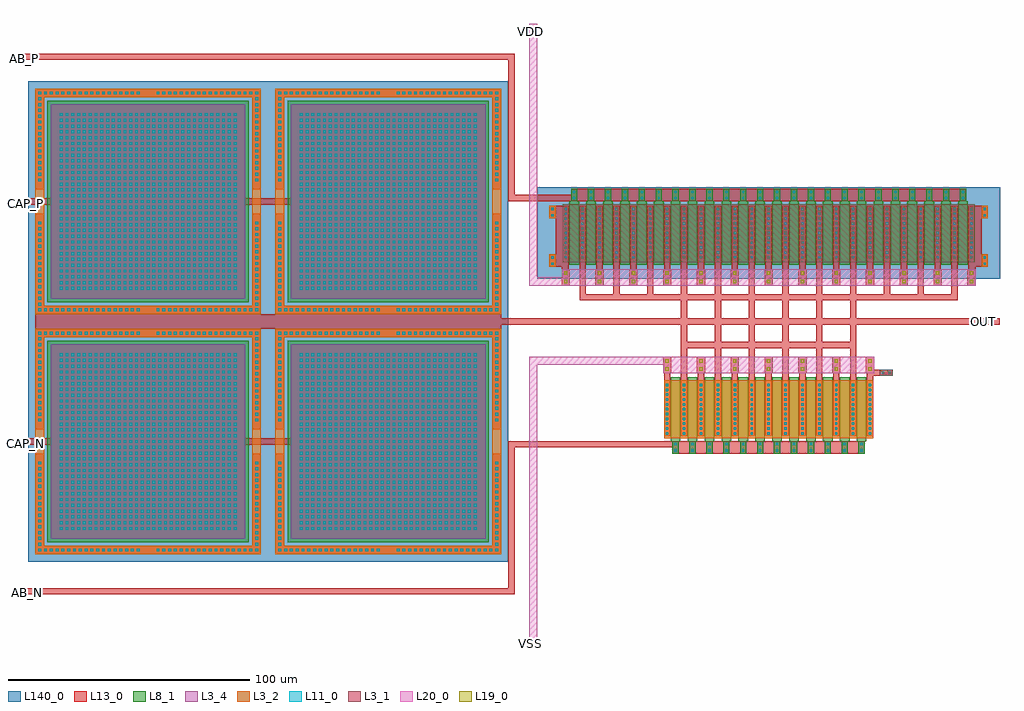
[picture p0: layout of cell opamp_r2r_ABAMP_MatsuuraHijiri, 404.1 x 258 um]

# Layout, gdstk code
from math import pi, radians
import gdstk
lib = gdstk.Library(unit=1e-6, precision=1e-07)
def R(c, l, rs):  # rectangles x0, y0, x1, y1
    for r in rs: c.add(gdstk.rectangle(r[:2], r[2:], *l))
def A(c, l, x, y, w, h, nx, ny, dx, dy):  # array of equal rectangles
    R(c, l, [(x+i*dx, y+j*dy, x+i*dx+w, y+j*dy+h) for i in range(nx) for j in range(ny)])
def P(c, l, *ps):  # polygons
    for p in ps: c.add(gdstk.Polygon(p, *l))
L3_1 = (3, 1)
L3_2 = (3, 2)
L3_4 = (3, 4)
L8_1 = (8, 1)
L11_0 = (11, 0)
L13_0 = (13, 0)
L19_0 = (19, 0)
L20_0 = (20, 0)
L140_0 = (140, 0)

moscap = lib.new_cell('moscap')
P(moscap, L3_2, [(-46.7,-46.7),(-46.7,43.1),(-43.1,43.1),(-43.1,-43.1),(43.1,-43.1),(43.1,43.1),(-46.7,43.1),(-46.7,46.7),(46.7,46.7),(46.7,-46.7)])
R(moscap, L3_4, [(-40.3,-40.3,40.3,40.3)])
R(moscap, L8_1, [(-41.7,-41.7,41.7,41.7)])
A(moscap, L11_0, -45.5, -45.5, 1.2, 1.2, 1, 18, 0, 2.4)
A(moscap, L11_0, -45.5, -45.5, 1.2, 1.2, 16, 2, 2.4, 89.8)
A(moscap, L11_0, 8.3, -45.5, 1.2, 1.2, 16, 2, 2.4, 89.8)
A(moscap, L11_0, 44.3, -45.5, 1.2, 1.2, 1, 18, 0, 2.4)
A(moscap, L11_0, -36.6, -36.6, 1.2, 1.2, 31, 31, 2.4, 2.4)
A(moscap, L11_0, -45.5, 3.5, 1.2, 1.2, 1, 18, 0, 2.4)
A(moscap, L11_0, 44.3, 3.5, 1.2, 1.2, 1, 18, 0, 2.4)
R(moscap, L13_0, [(-40.3,-40.3,40.3,40.3)])
P(moscap, L13_0, [(-46.7,-46.7),(-46.7,46.7),(-5,46.7),(-5,43.1),(-43.1,43.1),(-43.1,-43.1),(-5,-43.1),(-5,-46.7)],
  [(5,-46.7),(5,-43.1),(43.1,-43.1),(43.1,43.1),(5,43.1),(5,46.7),(46.7,46.7),(46.7,-46.7)])
R(moscap, L140_0, [(-49.7,-49.7,49.7,49.7)])

fet_p = lib.new_cell('fet_p')
R(fet_p, L3_1, [(-85.3,-12,85.3,12)])
A(fet_p, L11_0, -84.5, -10.5, 1, 1, 25, 11, 7, 2)
A(fet_p, L13_0, -85.3, -11.3, 2.6, 22.6, 25, 1, 7, 0)
fet_p.add(gdstk.FlexPath([(3.5,-13.2),(3.5,13.2)], 4, ends="flush", simple_path=True, layer=8, datatype=1))  # L8_1
fet_p.add(gdstk.FlexPath([(-3.5,-13.2),(-3.5,13.2)], 4, ends="flush", simple_path=True, layer=8, datatype=1))  # L8_1
fet_p.add(gdstk.FlexPath([(10.5,-13.2),(10.5,13.2)], 4, ends="flush", simple_path=True, layer=8, datatype=1))  # L8_1
fet_p.add(gdstk.FlexPath([(-10.5,-13.2),(-10.5,13.2)], 4, ends="flush", simple_path=True, layer=8, datatype=1))  # L8_1
fet_p.add(gdstk.FlexPath([(17.5,-13.2),(17.5,13.2)], 4, ends="flush", simple_path=True, layer=8, datatype=1))  # L8_1
fet_p.add(gdstk.FlexPath([(-17.5,-13.2),(-17.5,13.2)], 4, ends="flush", simple_path=True, layer=8, datatype=1))  # L8_1
fet_p.add(gdstk.FlexPath([(24.5,-13.2),(24.5,13.2)], 4, ends="flush", simple_path=True, layer=8, datatype=1))  # L8_1
fet_p.add(gdstk.FlexPath([(-24.5,-13.2),(-24.5,13.2)], 4, ends="flush", simple_path=True, layer=8, datatype=1))  # L8_1
fet_p.add(gdstk.FlexPath([(31.5,-13.2),(31.5,13.2)], 4, ends="flush", simple_path=True, layer=8, datatype=1))  # L8_1
fet_p.add(gdstk.FlexPath([(-31.5,-13.2),(-31.5,13.2)], 4, ends="flush", simple_path=True, layer=8, datatype=1))  # L8_1
fet_p.add(gdstk.FlexPath([(38.5,-13.2),(38.5,13.2)], 4, ends="flush", simple_path=True, layer=8, datatype=1))  # L8_1
fet_p.add(gdstk.FlexPath([(-38.5,-13.2),(-38.5,13.2)], 4, ends="flush", simple_path=True, layer=8, datatype=1))  # L8_1
fet_p.add(gdstk.FlexPath([(45.5,-13.2),(45.5,13.2)], 4, ends="flush", simple_path=True, layer=8, datatype=1))  # L8_1
fet_p.add(gdstk.FlexPath([(-45.5,-13.2),(-45.5,13.2)], 4, ends="flush", simple_path=True, layer=8, datatype=1))  # L8_1
fet_p.add(gdstk.FlexPath([(52.5,-13.2),(52.5,13.2)], 4, ends="flush", simple_path=True, layer=8, datatype=1))  # L8_1
fet_p.add(gdstk.FlexPath([(-52.5,-13.2),(-52.5,13.2)], 4, ends="flush", simple_path=True, layer=8, datatype=1))  # L8_1
fet_p.add(gdstk.FlexPath([(59.5,-13.2),(59.5,13.2)], 4, ends="flush", simple_path=True, layer=8, datatype=1))  # L8_1
fet_p.add(gdstk.FlexPath([(-59.5,-13.2),(-59.5,13.2)], 4, ends="flush", simple_path=True, layer=8, datatype=1))  # L8_1
fet_p.add(gdstk.FlexPath([(66.5,-13.2),(66.5,13.2)], 4, ends="flush", simple_path=True, layer=8, datatype=1))  # L8_1
fet_p.add(gdstk.FlexPath([(-66.5,-13.2),(-66.5,13.2)], 4, ends="flush", simple_path=True, layer=8, datatype=1))  # L8_1
fet_p.add(gdstk.FlexPath([(73.5,-13.2),(73.5,13.2)], 4, ends="flush", simple_path=True, layer=8, datatype=1))  # L8_1
fet_p.add(gdstk.FlexPath([(-73.5,-13.2),(-73.5,13.2)], 4, ends="flush", simple_path=True, layer=8, datatype=1))  # L8_1
fet_p.add(gdstk.FlexPath([(80.5,-13.2),(80.5,13.2)], 4, ends="flush", simple_path=True, layer=8, datatype=1))  # L8_1
fet_p.add(gdstk.FlexPath([(-80.5,-13.2),(-80.5,13.2)], 4, ends="flush", simple_path=True, layer=8, datatype=1))  # L8_1

cont_g = lib.new_cell('cont_g')
R(cont_g, L8_1, [(-1.3,-1.3,1.3,1.3)])
R(cont_g, L11_0, [(-0.5,-0.5,0.5,0.5)])
R(cont_g, L13_0, [(-1.3,-1.3,1.3,1.3)])

via_1 = lib.new_cell('via_1')
R(via_1, L13_0, [(-1.7,-1.7,1.7,1.7)])
R(via_1, L19_0, [(-0.7,-0.7,0.7,0.7)])
R(via_1, L20_0, [(-1.7,-1.7,1.7,1.7)])

cont_n = lib.new_cell('cont_n')
R(cont_n, L3_2, [(-1.3,-1.3,1.3,1.3)])
R(cont_n, L11_0, [(-0.5,-0.5,0.5,0.5)])
R(cont_n, L13_0, [(-1.3,-1.3,1.3,1.3)])

cont_p = lib.new_cell('cont_p')
R(cont_p, L3_1, [(-1.3,-1.3,1.3,1.3)])
R(cont_p, L11_0, [(-0.5,-0.5,0.5,0.5)])
R(cont_p, L13_0, [(-1.3,-1.3,1.3,1.3)])

fet_n = lib.new_cell('fet_n')
R(fet_n, L3_2, [(-43.3,-12,43.3,12)])
A(fet_n, L11_0, -42.5, -10.5, 1, 1, 13, 11, 7, 2)
A(fet_n, L13_0, -43.3, -11.3, 2.6, 22.6, 13, 1, 7, 0)
fet_n.add(gdstk.FlexPath([(3.5,-13.2),(3.5,13.2)], 4, ends="flush", simple_path=True, layer=8, datatype=1))  # L8_1
fet_n.add(gdstk.FlexPath([(-3.5,-13.2),(-3.5,13.2)], 4, ends="flush", simple_path=True, layer=8, datatype=1))  # L8_1
fet_n.add(gdstk.FlexPath([(10.5,-13.2),(10.5,13.2)], 4, ends="flush", simple_path=True, layer=8, datatype=1))  # L8_1
fet_n.add(gdstk.FlexPath([(-10.5,-13.2),(-10.5,13.2)], 4, ends="flush", simple_path=True, layer=8, datatype=1))  # L8_1
fet_n.add(gdstk.FlexPath([(17.5,-13.2),(17.5,13.2)], 4, ends="flush", simple_path=True, layer=8, datatype=1))  # L8_1
fet_n.add(gdstk.FlexPath([(-17.5,-13.2),(-17.5,13.2)], 4, ends="flush", simple_path=True, layer=8, datatype=1))  # L8_1
fet_n.add(gdstk.FlexPath([(24.5,-13.2),(24.5,13.2)], 4, ends="flush", simple_path=True, layer=8, datatype=1))  # L8_1
fet_n.add(gdstk.FlexPath([(-24.5,-13.2),(-24.5,13.2)], 4, ends="flush", simple_path=True, layer=8, datatype=1))  # L8_1
fet_n.add(gdstk.FlexPath([(31.5,-13.2),(31.5,13.2)], 4, ends="flush", simple_path=True, layer=8, datatype=1))  # L8_1
fet_n.add(gdstk.FlexPath([(-31.5,-13.2),(-31.5,13.2)], 4, ends="flush", simple_path=True, layer=8, datatype=1))  # L8_1
fet_n.add(gdstk.FlexPath([(38.5,-13.2),(38.5,13.2)], 4, ends="flush", simple_path=True, layer=8, datatype=1))  # L8_1
fet_n.add(gdstk.FlexPath([(-38.5,-13.2),(-38.5,13.2)], 4, ends="flush", simple_path=True, layer=8, datatype=1))  # L8_1

opamp_r2r_abamp_matsuura = lib.new_cell('opamp_r2r_ABAMP_MatsuuraHijiri')
R(opamp_r2r_abamp_matsuura, L13_0, [(8.1,-69.7,87.7,-67.1), (-255.7,-18,-62.9,-12), (-37.8,6.7,-37.4,7.6), (133.2,6.7,133.6,7.6), (-40.3,10.2,-37.4,30.3), (133.2,10.2,136.1,30.3), (-33.9,37.4,129.7,40)])
R(opamp_r2r_abamp_matsuura, L20_0, [(4.2,-36.4,91.6,-33), (-37.8,3.3,133.6,6.7)])
R(opamp_r2r_abamp_matsuura, L140_0, [(-47.9,2.6,143.7,40.6)])
opamp_r2r_abamp_matsuura.add(gdstk.FlexPath([(-29.1,10.3),(-29.1,-3.7)], 2.6, ends="flush", simple_path=True, layer=13, datatype=0))  # L13_0
opamp_r2r_abamp_matsuura.add(gdstk.FlexPath([(-15.1,10.3),(-15.1,-3.7)], 2.6, ends="flush", simple_path=True, layer=13, datatype=0))  # L13_0
opamp_r2r_abamp_matsuura.add(gdstk.FlexPath([(-1.1,10.3),(-1.1,-3.7)], 2.6, ends="flush", simple_path=True, layer=13, datatype=0))  # L13_0
opamp_r2r_abamp_matsuura.add(gdstk.FlexPath([(12.9,10.3),(12.9,-3.7)], 2.6, ends="flush", simple_path=True, layer=13, datatype=0))  # L13_0
opamp_r2r_abamp_matsuura.add(gdstk.FlexPath([(26.9,10.3),(26.9,-3.7)], 2.6, ends="flush", simple_path=True, layer=13, datatype=0))  # L13_0
opamp_r2r_abamp_matsuura.add(gdstk.FlexPath([(40.9,10.3),(40.9,-3.7)], 2.6, ends="flush", simple_path=True, layer=13, datatype=0))  # L13_0
opamp_r2r_abamp_matsuura.add(gdstk.FlexPath([(54.9,10.3),(54.9,-3.7)], 2.6, ends="flush", simple_path=True, layer=13, datatype=0))  # L13_0
opamp_r2r_abamp_matsuura.add(gdstk.FlexPath([(68.9,10.3),(68.9,-3.7)], 2.6, ends="flush", simple_path=True, layer=13, datatype=0))  # L13_0
opamp_r2r_abamp_matsuura.add(gdstk.FlexPath([(82.9,10.3),(82.9,-3.7)], 2.6, ends="flush", simple_path=True, layer=13, datatype=0))  # L13_0
opamp_r2r_abamp_matsuura.add(gdstk.FlexPath([(96.9,10.3),(96.9,-3.7)], 2.6, ends="flush", simple_path=True, layer=13, datatype=0))  # L13_0
opamp_r2r_abamp_matsuura.add(gdstk.FlexPath([(110.9,10.3),(110.9,-3.7)], 2.6, ends="flush", simple_path=True, layer=13, datatype=0))  # L13_0
opamp_r2r_abamp_matsuura.add(gdstk.FlexPath([(124.9,10.3),(124.9,-3.7)], 2.6, ends="flush", simple_path=True, layer=13, datatype=0))  # L13_0
opamp_r2r_abamp_matsuura.add(gdstk.FlexPath([(5.9,-33),(5.9,-40)], 2.6, ends="flush", simple_path=True, layer=13, datatype=0))  # L13_0
opamp_r2r_abamp_matsuura.add(gdstk.FlexPath([(19.9,-33),(19.9,-40)], 2.6, ends="flush", simple_path=True, layer=13, datatype=0))  # L13_0
opamp_r2r_abamp_matsuura.add(gdstk.FlexPath([(33.9,-33),(33.9,-40)], 2.6, ends="flush", simple_path=True, layer=13, datatype=0))  # L13_0
opamp_r2r_abamp_matsuura.add(gdstk.FlexPath([(47.9,-33),(47.9,-40)], 2.6, ends="flush", simple_path=True, layer=13, datatype=0))  # L13_0
opamp_r2r_abamp_matsuura.add(gdstk.FlexPath([(61.9,-33),(61.9,-40)], 2.6, ends="flush", simple_path=True, layer=13, datatype=0))  # L13_0
opamp_r2r_abamp_matsuura.add(gdstk.FlexPath([(75.9,-33),(75.9,-40)], 2.6, ends="flush", simple_path=True, layer=13, datatype=0))  # L13_0
opamp_r2r_abamp_matsuura.add(gdstk.FlexPath([(89.9,-33),(89.9,-40)], 2.6, ends="flush", simple_path=True, layer=13, datatype=0))  # L13_0
opamp_r2r_abamp_matsuura.add(gdstk.FlexPath([(12.9,-26),(12.9,-40)], 2.6, ends="flush", simple_path=True, layer=13, datatype=0))  # L13_0
opamp_r2r_abamp_matsuura.add(gdstk.FlexPath([(26.9,-26),(26.9,-40)], 2.6, ends="flush", simple_path=True, layer=13, datatype=0))  # L13_0
opamp_r2r_abamp_matsuura.add(gdstk.FlexPath([(40.9,-26),(40.9,-40)], 2.6, ends="flush", simple_path=True, layer=13, datatype=0))  # L13_0
opamp_r2r_abamp_matsuura.add(gdstk.FlexPath([(54.9,-26),(54.9,-40)], 2.6, ends="flush", simple_path=True, layer=13, datatype=0))  # L13_0
opamp_r2r_abamp_matsuura.add(gdstk.FlexPath([(68.9,-26),(68.9,-40)], 2.6, ends="flush", simple_path=True, layer=13, datatype=0))  # L13_0
opamp_r2r_abamp_matsuura.add(gdstk.FlexPath([(82.9,-26),(82.9,-40)], 2.6, ends="flush", simple_path=True, layer=13, datatype=0))  # L13_0
opamp_r2r_abamp_matsuura.add(gdstk.FlexPath([(-33.9,36.1),(129.7,36.1)], 2.6, ends="flush", simple_path=True, layer=13, datatype=0))  # L13_0
opamp_r2r_abamp_matsuura.add(gdstk.FlexPath([(8.1,-65.8),(87.7,-65.8)], 2.6, ends="flush", simple_path=True, layer=13, datatype=0))  # L13_0
opamp_r2r_abamp_matsuura.add(gdstk.FlexPath([(126.2,-5),(-30.4,-5)], 2.6, ends="flush", simple_path=True, layer=13, datatype=0))  # L13_0
opamp_r2r_abamp_matsuura.add(gdstk.FlexPath([(11.6,-24.7),(84.2,-24.7)], 2.6, ends="flush", simple_path=True, layer=13, datatype=0))  # L13_0
opamp_r2r_abamp_matsuura.add(gdstk.FlexPath([(12.9,-3.7),(12.9,-26)], 2.6, ends="flush", simple_path=True, layer=13, datatype=0))  # L13_0
opamp_r2r_abamp_matsuura.add(gdstk.FlexPath([(26.9,-3.7),(26.9,-26)], 2.6, ends="flush", simple_path=True, layer=13, datatype=0))  # L13_0
opamp_r2r_abamp_matsuura.add(gdstk.FlexPath([(40.9,-3.7),(40.9,-26)], 2.6, ends="flush", simple_path=True, layer=13, datatype=0))  # L13_0
opamp_r2r_abamp_matsuura.add(gdstk.FlexPath([(54.9,-3.7),(54.9,-26)], 2.6, ends="flush", simple_path=True, layer=13, datatype=0))  # L13_0
opamp_r2r_abamp_matsuura.add(gdstk.FlexPath([(68.9,-3.7),(68.9,-26)], 2.6, ends="flush", simple_path=True, layer=13, datatype=0))  # L13_0
opamp_r2r_abamp_matsuura.add(gdstk.FlexPath([(82.9,-3.7),(82.9,-26)], 2.6, ends="flush", simple_path=True, layer=13, datatype=0))  # L13_0
opamp_r2r_abamp_matsuura.add(gdstk.FlexPath([(11.6,-15),(143.6,-15)], 2.6, ends="flush", simple_path=True, layer=13, datatype=0))  # L13_0
opamp_r2r_abamp_matsuura.add(gdstk.FlexPath([(96.6,-36.2),(91.2,-36.2)], 2.6, ends="flush", simple_path=True, layer=13, datatype=0))  # L13_0
opamp_r2r_abamp_matsuura.add(gdstk.FlexPath([(138.7,8.9),(133.2,8.9)], 2.6, ends="flush", simple_path=True, layer=13, datatype=0))  # L13_0
opamp_r2r_abamp_matsuura.add(gdstk.FlexPath([(-36.1,10.3),(-36.1,3.3)], 2.6, ends="flush", simple_path=True, layer=13, datatype=0))  # L13_0
opamp_r2r_abamp_matsuura.add(gdstk.FlexPath([(-22.1,10.3),(-22.1,3.3)], 2.6, ends="flush", simple_path=True, layer=13, datatype=0))  # L13_0
opamp_r2r_abamp_matsuura.add(gdstk.FlexPath([(-8.1,10.3),(-8.1,3.3)], 2.6, ends="flush", simple_path=True, layer=13, datatype=0))  # L13_0
opamp_r2r_abamp_matsuura.add(gdstk.FlexPath([(5.9,10.3),(5.9,3.3)], 2.6, ends="flush", simple_path=True, layer=13, datatype=0))  # L13_0
opamp_r2r_abamp_matsuura.add(gdstk.FlexPath([(19.9,10.3),(19.9,3.3)], 2.6, ends="flush", simple_path=True, layer=13, datatype=0))  # L13_0
opamp_r2r_abamp_matsuura.add(gdstk.FlexPath([(33.9,10.3),(33.9,3.3)], 2.6, ends="flush", simple_path=True, layer=13, datatype=0))  # L13_0
opamp_r2r_abamp_matsuura.add(gdstk.FlexPath([(47.9,10.3),(47.9,3.3)], 2.6, ends="flush", simple_path=True, layer=13, datatype=0))  # L13_0
opamp_r2r_abamp_matsuura.add(gdstk.FlexPath([(61.9,10.3),(61.9,3.3)], 2.6, ends="flush", simple_path=True, layer=13, datatype=0))  # L13_0
opamp_r2r_abamp_matsuura.add(gdstk.FlexPath([(75.9,10.3),(75.9,3.3)], 2.6, ends="flush", simple_path=True, layer=13, datatype=0))  # L13_0
opamp_r2r_abamp_matsuura.add(gdstk.FlexPath([(89.9,10.3),(89.9,3.3)], 2.6, ends="flush", simple_path=True, layer=13, datatype=0))  # L13_0
opamp_r2r_abamp_matsuura.add(gdstk.FlexPath([(103.9,10.3),(103.9,3.3)], 2.6, ends="flush", simple_path=True, layer=13, datatype=0))  # L13_0
opamp_r2r_abamp_matsuura.add(gdstk.FlexPath([(117.9,10.3),(117.9,3.3)], 2.6, ends="flush", simple_path=True, layer=13, datatype=0))  # L13_0
opamp_r2r_abamp_matsuura.add(gdstk.FlexPath([(131.9,10.3),(131.9,3.3)], 2.6, ends="flush", simple_path=True, layer=13, datatype=0))  # L13_0
opamp_r2r_abamp_matsuura.add(gdstk.FlexPath([(-37.4,8.9),(-42.9,8.9)], 2.6, ends="flush", simple_path=True, layer=13, datatype=0))  # L13_0
opamp_r2r_abamp_matsuura.add(gdstk.FlexPath([(-37.4,31.6),(-42.9,31.6)], 2.6, ends="flush", simple_path=True, layer=13, datatype=0))  # L13_0
opamp_r2r_abamp_matsuura.add(gdstk.FlexPath([(138.7,31.6),(133.2,31.6)], 2.6, ends="flush", simple_path=True, layer=13, datatype=0))  # L13_0
opamp_r2r_abamp_matsuura.add(gdstk.FlexPath([(-22.1,36.1),(-58.6,36.1),(-58.6,94.6),(-260.4,94.6)], 2.6, ends="flush", simple_path=True, layer=13, datatype=0))  # L13_0
opamp_r2r_abamp_matsuura.add(gdstk.FlexPath([(-69.2,34.7),(-260.4,34.7)], 2.6, ends="flush", simple_path=True, layer=13, datatype=0))  # L13_0
opamp_r2r_abamp_matsuura.add(gdstk.FlexPath([(-69.2,-64.7),(-260.4,-64.7)], 2.6, ends="flush", simple_path=True, layer=13, datatype=0))  # L13_0
opamp_r2r_abamp_matsuura.add(gdstk.FlexPath([(19.9,-65.8),(-58.6,-65.8),(-58.6,-126.7),(-260.4,-126.7)], 2.6, ends="flush", simple_path=True, layer=13, datatype=0))  # L13_0
opamp_r2r_abamp_matsuura.add(gdstk.FlexPath([(24.7,-15),(-64,-15)], 2.6, ends="flush", simple_path=True, layer=13, datatype=0))  # L13_0
opamp_r2r_abamp_matsuura.add(gdstk.FlexPath([(-37.8,1.6),(133.6,1.6)], 3.4, ends="flush", simple_path=True, layer=20, datatype=0))  # L20_0
opamp_r2r_abamp_matsuura.add(gdstk.FlexPath([(4.2,-31.3),(91.6,-31.3)], 3.4, ends="flush", simple_path=True, layer=20, datatype=0))  # L20_0
opamp_r2r_abamp_matsuura.add(gdstk.FlexPath([(-37.8,1.6),(-49.6,1.6),(-49.6,108.2)], 3.4, ends="flush", simple_path=True, layer=20, datatype=0))  # L20_0
opamp_r2r_abamp_matsuura.add(gdstk.FlexPath([(4.2,-31.3),(-49.6,-31.3),(-49.6,-149.8)], 3.4, ends="flush", simple_path=True, layer=20, datatype=0))  # L20_0
opamp_r2r_abamp_matsuura.add(gdstk.Reference(moscap, (-109.6,34.7), rotation=pi/2))
opamp_r2r_abamp_matsuura.add(gdstk.Reference(moscap, (-109.6,-64.7), rotation=pi/2))
opamp_r2r_abamp_matsuura.add(gdstk.Reference(fet_p, (47.9,21.6)))
opamp_r2r_abamp_matsuura.add(gdstk.Reference(cont_g, (-32.6,36.1)))
opamp_r2r_abamp_matsuura.add(gdstk.Reference(cont_g, (-18.6,36.1)))
opamp_r2r_abamp_matsuura.add(gdstk.Reference(cont_g, (-4.6,36.1)))
opamp_r2r_abamp_matsuura.add(gdstk.Reference(cont_g, (9.4,36.1)))
opamp_r2r_abamp_matsuura.add(gdstk.Reference(cont_g, (23.4,36.1)))
opamp_r2r_abamp_matsuura.add(gdstk.Reference(cont_g, (37.4,36.1)))
opamp_r2r_abamp_matsuura.add(gdstk.Reference(cont_g, (51.4,36.1)))
opamp_r2r_abamp_matsuura.add(gdstk.Reference(cont_g, (65.4,36.1)))
opamp_r2r_abamp_matsuura.add(gdstk.Reference(cont_g, (79.4,36.1)))
opamp_r2r_abamp_matsuura.add(gdstk.Reference(cont_g, (93.4,36.1)))
opamp_r2r_abamp_matsuura.add(gdstk.Reference(cont_g, (107.4,36.1)))
opamp_r2r_abamp_matsuura.add(gdstk.Reference(cont_g, (121.4,36.1)))
opamp_r2r_abamp_matsuura.add(gdstk.Reference(cont_g, (-25.6,36.1)))
opamp_r2r_abamp_matsuura.add(gdstk.Reference(cont_g, (-11.6,36.1)))
opamp_r2r_abamp_matsuura.add(gdstk.Reference(cont_g, (2.4,36.1)))
opamp_r2r_abamp_matsuura.add(gdstk.Reference(cont_g, (16.4,36.1)))
opamp_r2r_abamp_matsuura.add(gdstk.Reference(cont_g, (30.4,36.1)))
opamp_r2r_abamp_matsuura.add(gdstk.Reference(cont_g, (44.4,36.1)))
opamp_r2r_abamp_matsuura.add(gdstk.Reference(cont_g, (58.4,36.1)))
opamp_r2r_abamp_matsuura.add(gdstk.Reference(cont_g, (72.4,36.1)))
opamp_r2r_abamp_matsuura.add(gdstk.Reference(cont_g, (86.4,36.1)))
opamp_r2r_abamp_matsuura.add(gdstk.Reference(cont_g, (100.4,36.1)))
opamp_r2r_abamp_matsuura.add(gdstk.Reference(cont_g, (114.4,36.1)))
opamp_r2r_abamp_matsuura.add(gdstk.Reference(cont_g, (128.4,36.1)))
opamp_r2r_abamp_matsuura.add(gdstk.Reference(via_1, (-36.1,1.6)))
opamp_r2r_abamp_matsuura.add(gdstk.Reference(via_1, (-22.1,1.6)))
opamp_r2r_abamp_matsuura.add(gdstk.Reference(via_1, (-8.1,1.6)))
opamp_r2r_abamp_matsuura.add(gdstk.Reference(via_1, (5.9,1.6)))
opamp_r2r_abamp_matsuura.add(gdstk.Reference(via_1, (19.9,1.6)))
opamp_r2r_abamp_matsuura.add(gdstk.Reference(via_1, (33.9,1.6)))
opamp_r2r_abamp_matsuura.add(gdstk.Reference(via_1, (47.9,1.6)))
opamp_r2r_abamp_matsuura.add(gdstk.Reference(via_1, (61.9,1.6)))
opamp_r2r_abamp_matsuura.add(gdstk.Reference(via_1, (75.9,1.6)))
opamp_r2r_abamp_matsuura.add(gdstk.Reference(via_1, (89.9,1.6)))
opamp_r2r_abamp_matsuura.add(gdstk.Reference(via_1, (103.9,1.6)))
opamp_r2r_abamp_matsuura.add(gdstk.Reference(via_1, (117.9,1.6)))
opamp_r2r_abamp_matsuura.add(gdstk.Reference(via_1, (131.9,1.6)))
opamp_r2r_abamp_matsuura.add(gdstk.Reference(cont_n, (137.4,8.9)))
opamp_r2r_abamp_matsuura.add(gdstk.Reference(cont_n, (-41.6,8.9)))
opamp_r2r_abamp_matsuura.add(gdstk.Reference(cont_n, (-41.6,31.6)))
opamp_r2r_abamp_matsuura.add(gdstk.Reference(cont_n, (137.4,31.6)))
opamp_r2r_abamp_matsuura.add(gdstk.Reference(cont_g, (-32.6,38.7)))
opamp_r2r_abamp_matsuura.add(gdstk.Reference(cont_g, (-25.6,38.7)))
opamp_r2r_abamp_matsuura.add(gdstk.Reference(cont_g, (-18.6,38.7)))
opamp_r2r_abamp_matsuura.add(gdstk.Reference(cont_g, (-11.6,38.7)))
opamp_r2r_abamp_matsuura.add(gdstk.Reference(cont_g, (-4.6,38.7)))
opamp_r2r_abamp_matsuura.add(gdstk.Reference(cont_g, (2.4,38.7)))
opamp_r2r_abamp_matsuura.add(gdstk.Reference(cont_g, (9.4,38.7)))
opamp_r2r_abamp_matsuura.add(gdstk.Reference(cont_g, (16.4,38.7)))
opamp_r2r_abamp_matsuura.add(gdstk.Reference(cont_g, (23.4,38.7)))
opamp_r2r_abamp_matsuura.add(gdstk.Reference(cont_g, (30.4,38.7)))
opamp_r2r_abamp_matsuura.add(gdstk.Reference(cont_g, (37.4,38.7)))
opamp_r2r_abamp_matsuura.add(gdstk.Reference(cont_g, (44.4,38.7)))
opamp_r2r_abamp_matsuura.add(gdstk.Reference(cont_g, (51.4,38.7)))
opamp_r2r_abamp_matsuura.add(gdstk.Reference(cont_g, (58.4,38.7)))
opamp_r2r_abamp_matsuura.add(gdstk.Reference(cont_g, (65.4,38.7)))
opamp_r2r_abamp_matsuura.add(gdstk.Reference(cont_g, (72.4,38.7)))
opamp_r2r_abamp_matsuura.add(gdstk.Reference(cont_g, (79.4,38.7)))
opamp_r2r_abamp_matsuura.add(gdstk.Reference(cont_g, (86.4,38.7)))
opamp_r2r_abamp_matsuura.add(gdstk.Reference(cont_g, (93.4,38.7)))
opamp_r2r_abamp_matsuura.add(gdstk.Reference(cont_g, (100.4,38.7)))
opamp_r2r_abamp_matsuura.add(gdstk.Reference(cont_g, (107.4,38.7)))
opamp_r2r_abamp_matsuura.add(gdstk.Reference(cont_g, (114.4,38.7)))
opamp_r2r_abamp_matsuura.add(gdstk.Reference(cont_g, (121.4,38.7)))
opamp_r2r_abamp_matsuura.add(gdstk.Reference(cont_g, (128.4,38.7)))
opamp_r2r_abamp_matsuura.add(gdstk.Reference(cont_n, (137.4,29)))
opamp_r2r_abamp_matsuura.add(gdstk.Reference(cont_n, (137.4,11.5)))
opamp_r2r_abamp_matsuura.add(gdstk.Reference(cont_n, (-41.6,29)))
opamp_r2r_abamp_matsuura.add(gdstk.Reference(cont_n, (-41.6,11.5)))
opamp_r2r_abamp_matsuura.add(gdstk.Reference(via_1, (-36.1,5)))
opamp_r2r_abamp_matsuura.add(gdstk.Reference(via_1, (-22.1,5)))
opamp_r2r_abamp_matsuura.add(gdstk.Reference(via_1, (-8.1,5)))
opamp_r2r_abamp_matsuura.add(gdstk.Reference(via_1, (5.9,5)))
opamp_r2r_abamp_matsuura.add(gdstk.Reference(via_1, (19.9,5)))
opamp_r2r_abamp_matsuura.add(gdstk.Reference(via_1, (33.9,5)))
opamp_r2r_abamp_matsuura.add(gdstk.Reference(via_1, (47.9,5)))
opamp_r2r_abamp_matsuura.add(gdstk.Reference(via_1, (61.9,5)))
opamp_r2r_abamp_matsuura.add(gdstk.Reference(via_1, (75.9,5)))
opamp_r2r_abamp_matsuura.add(gdstk.Reference(via_1, (89.9,5)))
opamp_r2r_abamp_matsuura.add(gdstk.Reference(via_1, (103.9,5)))
opamp_r2r_abamp_matsuura.add(gdstk.Reference(via_1, (117.9,5)))
opamp_r2r_abamp_matsuura.add(gdstk.Reference(via_1, (131.9,5)))
opamp_r2r_abamp_matsuura.add(gdstk.Reference(moscap, (-209,34.7), rotation=pi/2))
opamp_r2r_abamp_matsuura.add(gdstk.Reference(moscap, (-209,-64.7), rotation=pi/2))
opamp_r2r_abamp_matsuura.add(gdstk.Reference(cont_g, (30.4,-65.8)))
opamp_r2r_abamp_matsuura.add(gdstk.Reference(cont_g, (37.4,-65.8)))
opamp_r2r_abamp_matsuura.add(gdstk.Reference(cont_g, (44.4,-65.8)))
opamp_r2r_abamp_matsuura.add(gdstk.Reference(cont_g, (51.4,-65.8)))
opamp_r2r_abamp_matsuura.add(gdstk.Reference(cont_g, (58.4,-65.8)))
opamp_r2r_abamp_matsuura.add(gdstk.Reference(cont_g, (65.4,-65.8)))
opamp_r2r_abamp_matsuura.add(gdstk.Reference(cont_g, (72.4,-65.8)))
opamp_r2r_abamp_matsuura.add(gdstk.Reference(cont_g, (79.4,-65.8)))
opamp_r2r_abamp_matsuura.add(gdstk.Reference(cont_g, (86.4,-65.8)))
opamp_r2r_abamp_matsuura.add(gdstk.Reference(via_1, (5.9,-31.3)))
opamp_r2r_abamp_matsuura.add(gdstk.Reference(via_1, (19.9,-31.3)))
opamp_r2r_abamp_matsuura.add(gdstk.Reference(via_1, (33.9,-31.3)))
opamp_r2r_abamp_matsuura.add(gdstk.Reference(via_1, (47.9,-31.3)))
opamp_r2r_abamp_matsuura.add(gdstk.Reference(via_1, (61.9,-31.3)))
opamp_r2r_abamp_matsuura.add(gdstk.Reference(via_1, (75.9,-31.3)))
opamp_r2r_abamp_matsuura.add(gdstk.Reference(via_1, (89.9,-31.3)))
opamp_r2r_abamp_matsuura.add(gdstk.Reference(cont_p, (95.3,-36.2)))
opamp_r2r_abamp_matsuura.add(gdstk.Reference(fet_n, (47.9,-51.3)))
opamp_r2r_abamp_matsuura.add(gdstk.Reference(cont_g, (9.4,-65.8)))
opamp_r2r_abamp_matsuura.add(gdstk.Reference(cont_g, (16.4,-65.8)))
opamp_r2r_abamp_matsuura.add(gdstk.Reference(cont_g, (23.4,-65.8)))
opamp_r2r_abamp_matsuura.add(gdstk.Reference(via_1, (5.9,-34.7)))
opamp_r2r_abamp_matsuura.add(gdstk.Reference(via_1, (19.9,-34.7)))
opamp_r2r_abamp_matsuura.add(gdstk.Reference(via_1, (33.9,-34.7)))
opamp_r2r_abamp_matsuura.add(gdstk.Reference(via_1, (47.9,-34.7)))
opamp_r2r_abamp_matsuura.add(gdstk.Reference(via_1, (61.9,-34.7)))
opamp_r2r_abamp_matsuura.add(gdstk.Reference(via_1, (75.9,-34.7)))
opamp_r2r_abamp_matsuura.add(gdstk.Reference(via_1, (89.9,-34.7)))
opamp_r2r_abamp_matsuura.add(gdstk.Reference(cont_p, (97.9,-36.2)))
opamp_r2r_abamp_matsuura.add(gdstk.Reference(cont_g, (9.4,-68.4)))
opamp_r2r_abamp_matsuura.add(gdstk.Reference(cont_g, (16.4,-68.4)))
opamp_r2r_abamp_matsuura.add(gdstk.Reference(cont_g, (23.4,-68.4)))
opamp_r2r_abamp_matsuura.add(gdstk.Reference(cont_g, (30.4,-68.4)))
opamp_r2r_abamp_matsuura.add(gdstk.Reference(cont_g, (37.4,-68.4)))
opamp_r2r_abamp_matsuura.add(gdstk.Reference(cont_g, (44.4,-68.4)))
opamp_r2r_abamp_matsuura.add(gdstk.Reference(cont_g, (51.4,-68.4)))
opamp_r2r_abamp_matsuura.add(gdstk.Reference(cont_g, (58.4,-68.4)))
opamp_r2r_abamp_matsuura.add(gdstk.Reference(cont_g, (65.4,-68.4)))
opamp_r2r_abamp_matsuura.add(gdstk.Reference(cont_g, (72.4,-68.4)))
opamp_r2r_abamp_matsuura.add(gdstk.Reference(cont_g, (79.4,-68.4)))
opamp_r2r_abamp_matsuura.add(gdstk.Reference(cont_g, (86.4,-68.4)))
opamp_r2r_abamp_matsuura.add(gdstk.Label('OUT', (136.8,-15.2), layer=48, texttype=0))
opamp_r2r_abamp_matsuura.add(gdstk.Label('AB_P', (-260,93.8), layer=48, texttype=0))
opamp_r2r_abamp_matsuura.add(gdstk.Label('CAP_P', (-259.7,34), layer=48, texttype=0))
opamp_r2r_abamp_matsuura.add(gdstk.Label('CAP_N', (-259.8,-65.5), layer=48, texttype=0))
opamp_r2r_abamp_matsuura.add(gdstk.Label('AB_N', (-258.9,-127.1), layer=48, texttype=0))
opamp_r2r_abamp_matsuura.add(gdstk.Label('VSS', (-50.7,-148.2), layer=49, texttype=0))
opamp_r2r_abamp_matsuura.add(gdstk.Label('VDD', (-50.5,105.2), layer=49, texttype=0))

lib.write_gds('opamp_r2r_ABAMP_MatsuuraHijiri.gds')
